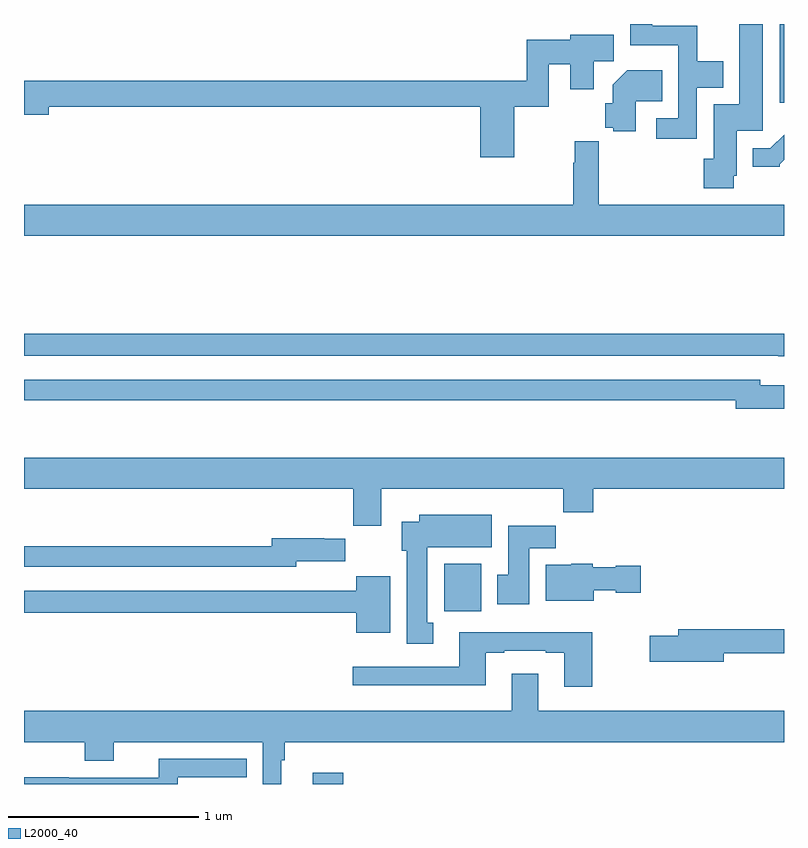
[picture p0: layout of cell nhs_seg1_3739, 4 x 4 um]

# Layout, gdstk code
import gdstk
lib = gdstk.Library(unit=1e-6, precision=1e-09)
def R(c, l, rs):  # rectangles x0, y0, x1, y1
    for r in rs: c.add(gdstk.rectangle(r[:2], r[2:], *l))
def P(c, l, *ps):  # polygons
    for p in ps: c.add(gdstk.Polygon(p, *l))
L2000_40 = (2000, 40)

nhs_seg1_3739 = lib.new_cell('nhs_seg1_3739')
R(nhs_seg1_3739, L2000_40, [(316.52,530.199,316.679,530.257), (317.211,531.108,317.407,531.358), (318.977,533.784,319,534.199)])
P(nhs_seg1_3739, L2000_40, [(318.54,533.864),(318.679,533.864),(318.679,534.004),(318.543,534.004),(318.543,534.19),(318.307,534.19),(318.307,534.199),(318.191,534.199),(318.191,534.086),(318.444,534.086),(318.444,533.703),(318.327,533.703),(318.327,533.595),(318.54,533.595)],
  [(318.735,533.4),(318.751,533.4),(318.751,533.637),(318.889,533.637),(318.889,534.199),(318.764,534.199),(318.764,533.776),(318.629,533.776),(318.629,533.49),(318.578,533.49),(318.578,533.334),(318.735,533.334)],
  [(317.58,533.764),(317.763,533.764),(317.763,533.986),(317.876,533.986),(317.876,533.856),(317.998,533.856),(317.998,534.004),(318.103,534.004),(318.103,534.142),(317.876,534.142),(317.876,534.115),(317.647,534.115),(317.647,533.9),(315,533.9),(315,533.722),(315.13,533.722),(315.13,533.764),(317.402,533.764),(317.402,533.499),(317.58,533.499)],
  [(318.22,533.792),(318.359,533.792),(318.359,533.956),(318.176,533.956),(318.098,533.878),(318.098,533.782),(318.06,533.782),(318.06,533.654),(318.102,533.654),(318.102,533.635),(318.22,533.635)],
  [(318.978,533.462),(319,533.484),(319,533.617),(318.927,533.544),(318.836,533.544),(318.836,533.447),(318.978,533.447)],
  [(319,533.248),(318.026,533.248),(318.026,533.468),(318.025,533.468),(318.025,533.581),(317.898,533.581),(317.898,533.468),(317.89,533.468),(317.89,533.248),(315,533.248),(315,533.084),(319,533.084)],
  [(319,532.568),(315,532.568),(315,532.452),(318.97,532.452),(318.97,532.451),(319,532.451)],
  [(319,532.297),(318.874,532.297),(318.874,532.326),(315,532.326),(315,532.218),(318.746,532.218),(318.746,532.175),(319,532.175)],
  [(316.879,531.752),(317.839,531.752),(317.839,531.628),(317.996,531.628),(317.996,531.752),(319,531.752),(319,531.916),(315,531.916),(315,531.752),(316.733,531.752),(316.733,531.559),(316.879,531.559)],
  [(317.155,531.049),(317.122,531.049),(317.122,531.446),(317.461,531.446),(317.461,531.616),(317.081,531.616),(317.081,531.58),(316.988,531.58),(316.988,531.426),(317.015,531.426),(317.015,530.937),(317.155,530.937)],
  [(317.659,531.44),(317.798,531.44),(317.798,531.558),(317.549,531.558),(317.549,531.3),(317.492,531.3),(317.492,531.144),(317.659,531.144)],
  [(316.432,531.371),(316.691,531.371),(316.691,531.489),(316.58,531.489),(316.58,531.493),(316.304,531.493),(316.304,531.451),(315,531.451),(315,531.342),(316.432,531.342)],
  [(317.998,531.218),(318.114,531.218),(318.114,531.206),(318.247,531.206),(318.247,531.348),(318.114,531.348),(318.114,531.34),(317.994,531.34),(317.994,531.358),(317.88,531.358),(317.88,531.352),(317.747,531.352),(317.747,531.164),(317.998,531.164)],
  [(316.927,531.292),(316.748,531.292),(316.748,531.217),(316.528,531.217),(316.528,531.216),(315,531.216),(315,531.1),(316.748,531.1),(316.748,530.996),(316.927,530.996)],
  [(318.682,530.886),(319,530.886),(319,531.014),(318.443,531.014),(318.443,530.978),(318.294,530.978),(318.294,530.843),(318.682,530.843)],
  [(317.991,530.998),(317.291,530.998),(317.291,530.817),(316.731,530.817),(316.731,530.72),(317.431,530.72),(317.431,530.889),(317.527,530.889),(317.527,530.901),(317.747,530.901),(317.747,530.889),(317.843,530.889),(317.843,530.712),(317.991,530.712)],
  [(316.354,530.324),(316.373,530.324),(316.373,530.42),(319,530.42),(319,530.584),(317.707,530.584),(317.707,530.779),(317.567,530.779),(317.567,530.584),(315,530.584),(315,530.42),(315.32,530.42),(315.32,530.321),(315.472,530.321),(315.472,530.42),(316.257,530.42),(316.257,530.199),(316.354,530.199)],
  [(315.808,530.235),(316.172,530.235),(316.172,530.331),(315.709,530.331),(315.709,530.232),(315.236,530.232),(315.236,530.234),(315,530.234),(315,530.199),(315.808,530.199)])

lib.write_gds('nhs_seg1_3739.gds')
